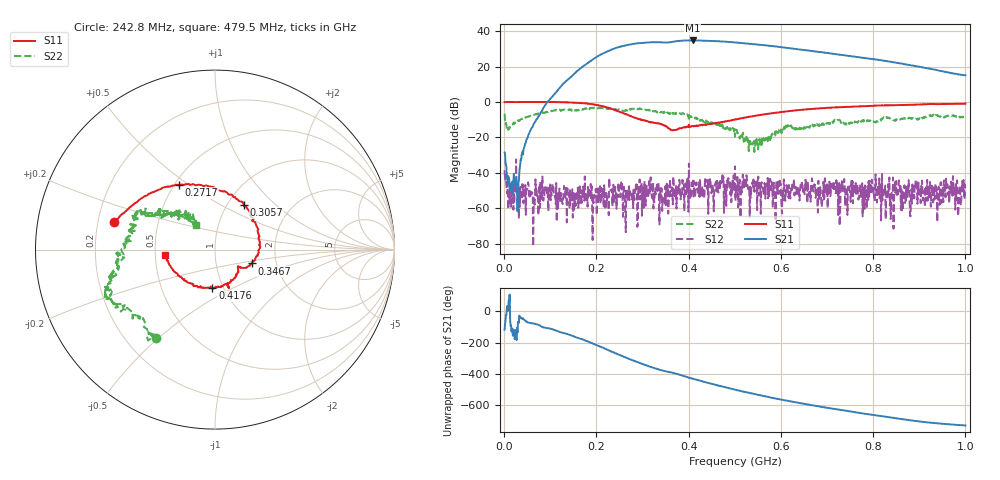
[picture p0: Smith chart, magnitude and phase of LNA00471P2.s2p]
! Created with skrf 1.9.0 (http://scikit-rf.org).
# Hz S RI R 50.0
!freq ReS11 ImS11 ReS21 ImS21 ReS12 ImS12 ReS22 ImS22
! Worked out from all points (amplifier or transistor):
!   1001 points, 1 MHz to 1 GHz, reference 50 ohm
!   highest |S21| = 34.8 dB at 408.6 MHz (marker M1)
!   |S21| within 3 dB of that: 259.9 MHz to 574.2 MHz (314.3 MHz wide, 75.4 % of centre) (the widest 1 of 2)
!   unconditionally stable (mu >= 1): 229.1 MHz to 317.5 MHz; 400.9 MHz to 500.4 MHz; 500.5 MHz to end of sweep (the widest 3 of 35)
!   at 166.8 MHz: K = 1.57, MAG = 30.1 dB, |S12| = -49.7 dB
!   at 500.5 MHz: K = 0.96, MSG = 35.0 dB, |S12| = -36.3 dB
!   at 1 GHz: K = 4.45, MAG = 22.8 dB, |S12| = -49.4 dB
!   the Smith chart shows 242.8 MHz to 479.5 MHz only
!   S11 on the Smith chart (normalised r, x): 242.8 MHz: 0.27, +0.12; 271.7 MHz: 0.53, +0.46; 305.7 MHz: 1.19, +0.65; 346.7 MHz: 1.50, -0.24; 417.6 MHz: 0.89, -0.40; 479.5 MHz: 0.56, -0.04
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1000000  0.9866 -0.00336  -0.0168 -0.0335  -0.00234 0.0116  0.3658 0.2898
1.08892e8  0.5221 -0.8462  -0.7915 -1.457  0.00108 0.00214  0.429 -0.3873
1.67833e8  -0.2312 -0.9021  -9.488 -0.5445  0.00178 -0.000463  0.0359 -0.6301
2.09791e8  -0.6735 -0.3883  -15.16 15.92  0.00119 -0.00192  -0.2096 -0.6368
2.42758e8  -0.56 0.152  -0.6585 33.61  -0.00147 0.00122  -0.3307 -0.4911
2.71729e8  -0.2017 0.3599  23.67 34.57  -0.00167 0.00033  -0.5022 -0.3095
3.05695e8  0.16 0.2498  44.84 14.74  0.00131 0.00239  -0.5786 -0.172
3.34666e8  0.2523 0.0149  48.04 -8.748  -0.00474 0.00216  -0.5293 -0.00798
3.46654e8  0.2066 -0.077  45.03 -16.56  0.000853 0.00178  -0.5009 0.0161
3.75625e8  0.1287 -0.1085  40.25 -33.99  -0.000631 0.00242  -0.4555 0.1767
4.08592e8  0.0361 -0.2071  19.1 -51.29  -0.0027 0.00512  -0.3057 0.2386
4.17583e8  -0.0141 -0.2161  12.06 -52.97  -0.00245 0.00436  -0.2534 0.2161
4.45555e8  -0.1597 -0.174  -8.35 -52.51  0.00379 0.000868  -0.1972 0.2197
4.79521e8  -0.2794 -0.031  -28.78 -41.55  0.00378 0.000908  -0.1031 0.135
5.005e8  -0.3102 0.0974  -36.93 -31.12  0.0153 -0.000371  -0.0694 0.0772
5.4046e8  -0.2513 0.3098  -41.88 -10.09  0.00555 -0.00333  -0.0572 0.043
5.88412e8  -0.0635 0.4941  -35.52 10.36  0.000324 0.000291  -0.0954 -0.0617
6.67333e8  0.3272 0.548  -14.04 23.51  -0.00113 -0.00687  -0.2129 -0.0646
7.53247e8  0.6364 0.3769  3.423 19.27  -0.00156 -0.00646  -0.2644 -0.0121
8.34166e8  0.7933 0.1407  9.946 9.767  -0.00276 -0.003  -0.351 -0.00608
9.09091e8  0.8517 -0.1207  9.122 2.251  -0.0028 0.000866  -0.3345 0.1289
1e9  0.8106 -0.3955  5.607 -0.8045  0.00105 -0.00322  -0.279 0.2878
